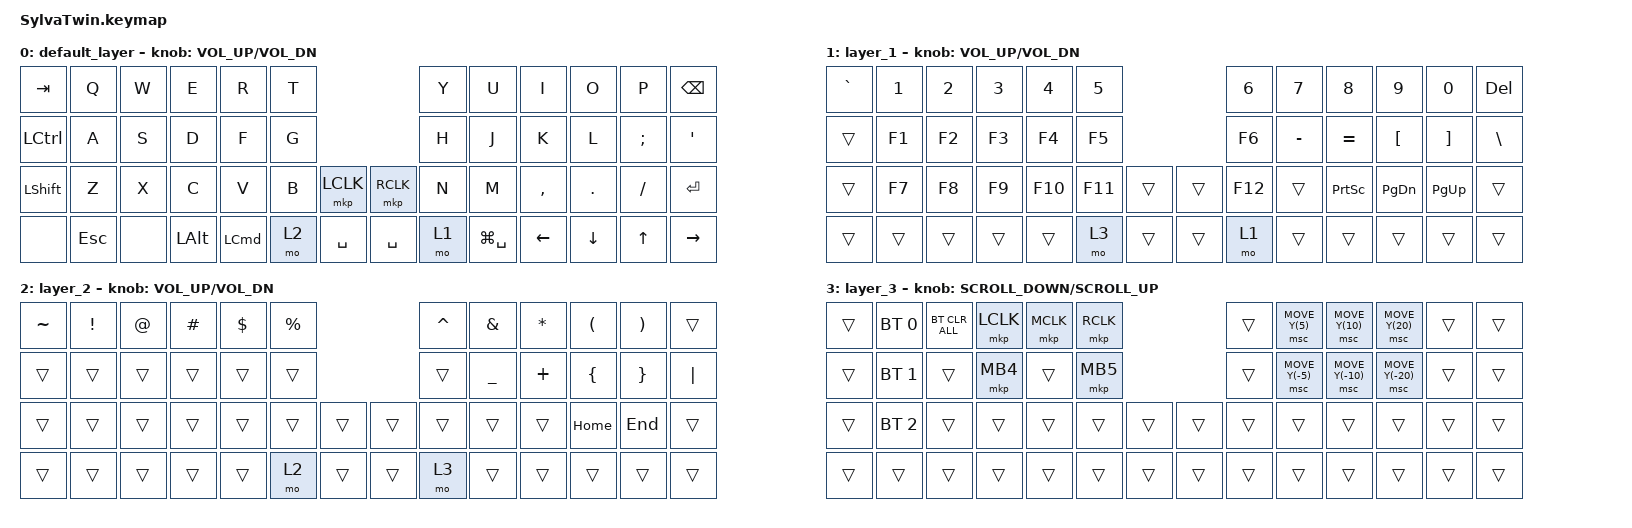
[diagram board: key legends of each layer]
/*
 * Copyright (c) 2020 The ZMK Contributors
 *
 * SPDX-License-Identifier: MIT
 */

#include <behaviors.dtsi>
#include <dt-bindings/zmk/bt.h>
#include <dt-bindings/zmk/keys.h>
#include <dt-bindings/zmk/pointing.h>

/ {
    combos { compatible = "zmk,combos"; };

    keymap {
        compatible = "zmk,keymap";

        default_layer {
            bindings = <
&kp TAB     &kp Q       &kp W  &kp E         &kp R     &kp T                        &kp Y  &kp U          &kp I           &kp O           &kp P          &kp BSPC
&kp LCTRL   &kp A       &kp S  &kp D         &kp F     &kp G                        &kp H  &kp J          &kp K           &kp L           &kp SEMICOLON  &kp SINGLE_QUOTE
&kp LSHIFT  &kp Z       &kp X  &kp C         &kp V     &kp B  &mkp LCLK  &mkp RCLK  &kp N  &kp M          &kp COMMA       &kp DOT         &kp SLASH      &kp RETURN
&none       &kp ESCAPE  &none  &kp LEFT_ALT  &kp LCMD  &mo 2  &kp SPACE  &kp SPACE  &mo 1  &kp LG(SPACE)  &kp LEFT_ARROW  &kp DOWN_ARROW  &kp UP_ARROW   &kp RIGHT_ARROW
            >;

            sensor-bindings = <&inc_dec_kp C_VOL_UP C_VOL_DN>;
        };

        layer_1 {
            bindings = <
&kp GRAVE  &kp NUMBER_1  &kp NUMBER_2  &kp NUMBER_3  &kp NUMBER_4  &kp N5                   &kp NUMBER_6  &kp NUMBER_7  &kp N8           &kp N9            &kp N0             &kp DELETE
&trans     &kp F1        &kp F2        &kp F3        &kp F4        &kp F5                   &kp F6        &kp MINUS     &kp EQUAL        &kp LEFT_BRACKET  &kp RIGHT_BRACKET  &kp BSLH
&trans     &kp F7        &kp F8        &kp F9        &kp F10       &kp F11  &trans  &trans  &kp F12       &trans        &kp PRINTSCREEN  &kp PAGE_DOWN     &kp PG_UP          &trans
&trans     &trans        &trans        &trans        &trans        &mo 3    &trans  &trans  &mo 1         &trans        &trans           &trans            &trans             &trans
            >;

            sensor-bindings = <&inc_dec_kp C_VOL_UP C_VOL_DN>;
        };

        layer_2 {
            bindings = <
&kp TILDE  &kp EXCLAMATION  &kp AT_SIGN  &kp HASH  &kp DOLLAR  &kp PERCENT                  &kp CARET  &kp AMPERSAND   &kp ASTERISK  &kp LPAR        &kp RIGHT_PARENTHESIS  &trans
&trans     &trans           &trans       &trans    &trans      &trans                       &trans     &kp UNDERSCORE  &kp PLUS      &kp LEFT_BRACE  &kp RIGHT_BRACE        &kp PIPE
&trans     &trans           &trans       &trans    &trans      &trans       &trans  &trans  &trans     &trans          &trans        &kp HOME        &kp END                &trans
&trans     &trans           &trans       &trans    &trans      &mo 2        &trans  &trans  &mo 3      &trans          &trans        &trans          &trans                 &trans
            >;

            sensor-bindings = <&inc_dec_kp C_VOL_UP C_VOL_DN>;
        };

        layer_3 {
            bindings = <
&trans  &bt BT_SEL 0  &bt BT_CLR_ALL  &mkp LCLK  &mkp MCLK  &mkp RCLK                  &trans  &msc MOVE_Y(5)   &msc MOVE_Y(10)   &msc MOVE_Y(20)   &trans  &trans
&trans  &bt BT_SEL 1  &trans          &mkp MB4   &trans     &mkp MB5                   &trans  &msc MOVE_Y(-5)  &msc MOVE_Y(-10)  &msc MOVE_Y(-20)  &trans  &trans
&trans  &bt BT_SEL 2  &trans          &trans     &trans     &trans     &trans  &trans  &trans  &trans           &trans            &trans            &trans  &trans
&trans  &trans        &trans          &trans     &trans     &trans     &trans  &trans  &trans  &trans           &trans            &trans            &trans  &trans
            >;

            sensor-bindings = <&inc_dec_kp K_SCROLL_DOWN K_SCROLL_UP>;
        };
    };
};
